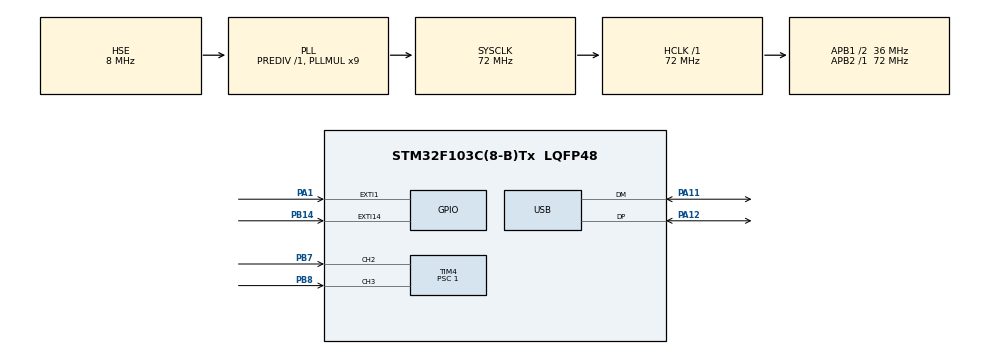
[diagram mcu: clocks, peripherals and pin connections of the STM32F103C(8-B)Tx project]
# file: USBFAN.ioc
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Mcu.Family=STM32F1
Mcu.Name=STM32F103C(8-B)Tx
Mcu.Package=LQFP48
NVIC.EXTI15_10_IRQn=true\:6\:0\:false\:false\:true\:false\:true\:true
NVIC.EXTI1_IRQn=true\:6\:0\:false\:false\:true\:false\:true\:true
NVIC.PriorityGroup=NVIC_PRIORITYGROUP_4
NVIC.USB_LP_CAN1_RX0_IRQn=true\:0\:0\:false\:false\:true\:false\:true\:true
PA1.Signal=GPXTI1
PA11.Mode=Device
PA11.Signal=USB_DM
PA12.Mode=Device
PA12.Signal=USB_DP
PA13.Mode=Serial_Wire
PA13.Signal=SYS_JTMS-SWDIO
PA14.Mode=Serial_Wire
PA14.Signal=SYS_JTCK-SWCLK
PB14.Signal=GPXTI14
PB7.Signal=S_TIM4_CH2
PB8.Signal=S_TIM4_CH3
PC14-OSC32_IN.Mode=LSE-External-Oscillator
PC14-OSC32_IN.Signal=RCC_OSC32_IN
PC15-OSC32_OUT.Mode=LSE-External-Oscillator
PC15-OSC32_OUT.Signal=RCC_OSC32_OUT
PD0-OSC_IN.Mode=HSE-External-Oscillator
PD0-OSC_IN.Signal=RCC_OSC_IN
PD1-OSC_OUT.Mode=HSE-External-Oscillator
PD1-OSC_OUT.Signal=RCC_OSC_OUT
ProjectManager.HeapSize=0x200
ProjectManager.StackSize=0x400
ProjectManager.TargetToolchain=CMake
RCC.AHBFreq_Value=72000000
RCC.APB1CLKDivider=RCC_HCLK_DIV2
RCC.APB1Freq_Value=36000000
RCC.APB1TimFreq_Value=72000000
RCC.APB2Freq_Value=72000000
RCC.APB2TimFreq_Value=72000000
RCC.HCLKFreq_Value=72000000
RCC.PLLMUL=RCC_PLL_MUL9
RCC.PLLSourceVirtual=RCC_PLLSOURCE_HSE
RCC.RTCClockSelection=RCC_RTCCLKSOURCE_LSE
RCC.SYSCLKFreq_VALUE=72000000
RCC.SYSCLKSource=RCC_SYSCLKSOURCE_PLLCLK
RCC.USBFreq_Value=48000000
RCC.USBPrescaler=RCC_USBCLKSOURCE_PLL_DIV1_5
SH.S_TIM4_CH2.0=TIM4_CH2,Input_Capture2_from_TI2
SH.S_TIM4_CH3.0=TIM4_CH3,Input_Capture3_from_TI3
TIM4.Channel-Input_Capture2_from_TI2=TIM_CHANNEL_2
TIM4.Channel-Input_Capture3_from_TI3=TIM_CHANNEL_3
TIM4.Channel-PWM_Generation_CH2=TIM_CHANNEL_2
TIM4.Channel-PWM_Generation_CH3=TIM_CHANNEL_3
TIM4.Period=1439
TIM4.Prescaler=1
USB_DEVICE.CLASS_NAME_FS=CDC
USB_DEVICE.VirtualMode=Cdc
USB_DEVICE.VirtualModeFS=Cdc_FS
VP_RTC_VS_RTC_Activate.Mode=RTC_Enabled
VP_USB_DEVICE_VS_USB_DEVICE_CDC_FS.Mode=CDC_FS
board=custom

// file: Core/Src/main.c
/* USER CODE BEGIN Header */
/**
  ******************************************************************************
  * @file           : main.c
  * @brief          : Main program body
  ******************************************************************************
  * @attention
  *
  * Copyright (c) 2026 STMicroelectronics.
  * All rights reserved.
  *
  * This software is licensed under terms that can be found in the LICENSE file
  * in the root directory of this software component.
  * If no LICENSE file comes with this software, it is provided AS-IS.
  *
  ******************************************************************************
  */
/* USER CODE END Header */
#include "main.h"
#include "usb_device.h"

/* USER CODE BEGIN Includes */
#include <stdio.h>
#include "fan_hw.h"
#include "usbd_cdc_if.h"
/* USER CODE END Includes */

RTC_HandleTypeDef hrtc;

TIM_HandleTypeDef htim4;

void SystemClock_Config(void);
static void MX_GPIO_Init(void);
static void MX_RTC_Init(void);
static void MX_TIM4_Init(void);

/* USER CODE BEGIN 0 */
/**
  * @brief  Force a clean USB re-enumeration on every boot.
  *         The Blue Pill D+ pull-up is hard-wired to 3.3V, so a MCU reset
  *         never drops the "device connected" state and the host does not
  *         re-enumerate (flash or reset leaves the device dead until replug).
  *         Drive DP/DM low for ~50 ms (SE0) to signal a disconnect, then let
  *         MX_USB_DEVICE_Init restore the pins as USB alternate function so
  *         the pull-up re-asserts "connect" and the host enumerates cleanly.
  */
static void UsbForceReEnumerate(void)
{
  GPIO_InitTypeDef gpio = {0};

  __HAL_RCC_GPIOA_CLK_ENABLE();

  gpio.Pin = GPIO_PIN_11 | GPIO_PIN_12;
  gpio.Mode = GPIO_MODE_OUTPUT_PP;
  gpio.Speed = GPIO_SPEED_FREQ_LOW;
  HAL_GPIO_Init(GPIOA, &gpio);
  HAL_GPIO_WritePin(GPIOA, GPIO_PIN_11 | GPIO_PIN_12, GPIO_PIN_RESET);
  HAL_Delay(50U);
}
/* USER CODE END 0 */

int main(void)
{

  /* MCU Configuration--------------------------------------------------------*/

  /* Reset of all peripherals, Initializes the Flash interface and the Systick. */
  HAL_Init();

  /* Configure the system clock */
  SystemClock_Config();

  /* USER CODE BEGIN SysInit */
  UsbForceReEnumerate();
  /* USER CODE END SysInit */

  /* Initialize all configured peripherals */
  MX_GPIO_Init();
  MX_RTC_Init();
  MX_USB_DEVICE_Init();
  MX_TIM4_Init();
  /* USER CODE BEGIN 2 */
  FanHw_Init();
  /* USER CODE END 2 */

  /* Infinite loop */
  while (1)
  {

    /* USER CODE BEGIN 3 */
    uint8_t tx[32];
    int n;

    FanHw_Tick(1000U);

    n = snprintf((char *)tx, sizeof(tx), "R0:%u\nR1:%u\n",
                 (unsigned)FanHw_GetRpm(0U), (unsigned)FanHw_GetRpm(1U));
    if (n > 0)
    {
      CDC_Transmit_FS(tx, (uint16_t)n);
    }

    FanHw_UpdateLeds();
    HAL_Delay(1000);
  }
  /* USER CODE END 3 */
}

void SystemClock_Config(void)
{
  RCC_OscInitTypeDef RCC_OscInitStruct = {0};
  RCC_ClkInitTypeDef RCC_ClkInitStruct = {0};
  RCC_PeriphCLKInitTypeDef PeriphClkInit = {0};

  /** Initializes the RCC Oscillators according to the specified parameters
  * in the RCC_OscInitTypeDef structure.
  */
  RCC_OscInitStruct.OscillatorType = RCC_OSCILLATORTYPE_HSE|RCC_OSCILLATORTYPE_LSE;
  RCC_OscInitStruct.HSEState = RCC_HSE_ON;
  RCC_OscInitStruct.HSEPredivValue = RCC_HSE_PREDIV_DIV1;
  RCC_OscInitStruct.LSEState = RCC_LSE_ON;
  RCC_OscInitStruct.HSIState = RCC_HSI_ON;
  RCC_OscInitStruct.PLL.PLLState = RCC_PLL_ON;
  RCC_OscInitStruct.PLL.PLLSource = RCC_PLLSOURCE_HSE;
  RCC_OscInitStruct.PLL.PLLMUL = RCC_PLL_MUL9;
  if (HAL_RCC_OscConfig(&RCC_OscInitStruct) != HAL_OK)
  {
    Error_Handler();
  }

  /** Initializes the CPU, AHB and APB buses clocks
  */
  RCC_ClkInitStruct.ClockType = RCC_CLOCKTYPE_HCLK|RCC_CLOCKTYPE_SYSCLK
                              |RCC_CLOCKTYPE_PCLK1|RCC_CLOCKTYPE_PCLK2;
  RCC_ClkInitStruct.SYSCLKSource = RCC_SYSCLKSOURCE_PLLCLK;
  RCC_ClkInitStruct.AHBCLKDivider = RCC_SYSCLK_DIV1;
  RCC_ClkInitStruct.APB1CLKDivider = RCC_HCLK_DIV2;
  RCC_ClkInitStruct.APB2CLKDivider = RCC_HCLK_DIV1;

  if (HAL_RCC_ClockConfig(&RCC_ClkInitStruct, FLASH_LATENCY_2) != HAL_OK)
  {
    Error_Handler();
  }
  PeriphClkInit.PeriphClockSelection = RCC_PERIPHCLK_RTC|RCC_PERIPHCLK_USB;
  PeriphClkInit.RTCClockSelection = RCC_RTCCLKSOURCE_LSE;
  PeriphClkInit.UsbClockSelection = RCC_USBCLKSOURCE_PLL_DIV1_5;
  if (HAL_RCCEx_PeriphCLKConfig(&PeriphClkInit) != HAL_OK)
  {
    Error_Handler();
  }
}

static void MX_RTC_Init(void)
{

  /** Initialize RTC Only
  */
  hrtc.Instance = RTC;
  hrtc.Init.AsynchPrediv = RTC_AUTO_1_SECOND;
  hrtc.Init.OutPut = RTC_OUTPUTSOURCE_ALARM;
  if (HAL_RTC_Init(&hrtc) != HAL_OK)
  {
    Error_Handler();
  }

}

static void MX_TIM4_Init(void)
{

  TIM_MasterConfigTypeDef sMasterConfig = {0};
  TIM_IC_InitTypeDef sConfigIC = {0};

  htim4.Instance = TIM4;
  htim4.Init.Prescaler = 1;
  htim4.Init.CounterMode = TIM_COUNTERMODE_UP;
  htim4.Init.Period = 1439;
  htim4.Init.ClockDivision = TIM_CLOCKDIVISION_DIV1;
  htim4.Init.AutoReloadPreload = TIM_AUTORELOAD_PRELOAD_DISABLE;
  if (HAL_TIM_IC_Init(&htim4) != HAL_OK)
  {
    Error_Handler();
  }
  sMasterConfig.MasterOutputTrigger = TIM_TRGO_RESET;
  sMasterConfig.MasterSlaveMode = TIM_MASTERSLAVEMODE_DISABLE;
  if (HAL_TIMEx_MasterConfigSynchronization(&htim4, &sMasterConfig) != HAL_OK)
  {
    Error_Handler();
  }
  sConfigIC.ICPolarity = TIM_INPUTCHANNELPOLARITY_RISING;
  sConfigIC.ICSelection = TIM_ICSELECTION_DIRECTTI;
  sConfigIC.ICPrescaler = TIM_ICPSC_DIV1;
  sConfigIC.ICFilter = 0;
  if (HAL_TIM_IC_ConfigChannel(&htim4, &sConfigIC, TIM_CHANNEL_2) != HAL_OK)
  {
    Error_Handler();
  }
  if (HAL_TIM_IC_ConfigChannel(&htim4, &sConfigIC, TIM_CHANNEL_3) != HAL_OK)
  {
    Error_Handler();
  }

}

static void MX_GPIO_Init(void)
{
  GPIO_InitTypeDef GPIO_InitStruct = {0};

  /* GPIO Ports Clock Enable */
  __HAL_RCC_GPIOC_CLK_ENABLE();
  __HAL_RCC_GPIOD_CLK_ENABLE();
  __HAL_RCC_GPIOA_CLK_ENABLE();
  __HAL_RCC_GPIOB_CLK_ENABLE();

  /*Configure GPIO pin : PA1 */
  GPIO_InitStruct.Pin = GPIO_PIN_1;
  GPIO_InitStruct.Mode = GPIO_MODE_IT_RISING;
  GPIO_InitStruct.Pull = GPIO_NOPULL;
  HAL_GPIO_Init(GPIOA, &GPIO_InitStruct);

  /*Configure GPIO pin : PB14 */
  GPIO_InitStruct.Pin = GPIO_PIN_14;
  GPIO_InitStruct.Mode = GPIO_MODE_IT_RISING;
  GPIO_InitStruct.Pull = GPIO_NOPULL;
  HAL_GPIO_Init(GPIOB, &GPIO_InitStruct);

  /* EXTI interrupt init*/
  HAL_NVIC_SetPriority(EXTI1_IRQn, 6, 0);
  HAL_NVIC_EnableIRQ(EXTI1_IRQn);

  HAL_NVIC_SetPriority(EXTI15_10_IRQn, 6, 0);
  HAL_NVIC_EnableIRQ(EXTI15_10_IRQn);

}

void Error_Handler(void)
{
  __disable_irq();
  while (1)
  {
  }
}
